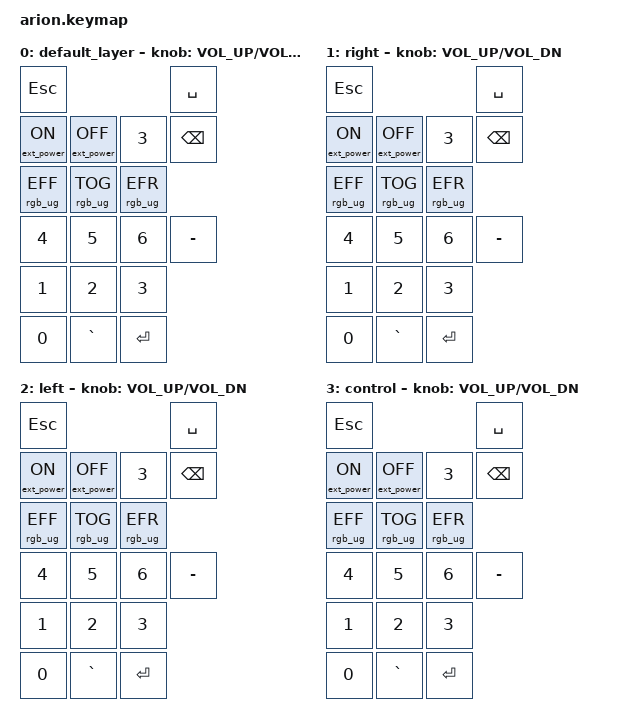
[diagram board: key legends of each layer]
#include <behaviors.dtsi>
#include <dt-bindings/zmk/keys.h>
#include <dt-bindings/zmk/bt.h>
#include <dt-bindings/zmk/rgb.h>
#include <dt-bindings/zmk/ext_power.h>

/ {
	keymap {
		compatible = "zmk,keymap";

		default_layer {
            sensor-bindings = <&inc_dec_kp C_VOL_UP C_VOL_DN>;
			bindings = <
		        &kp ESC                                                  &kp SPACE
                &ext_power EP_ON    &ext_power EP_OFF   &kp N3           &kp BSPC      
                &rgb_ug RGB_EFF     &rgb_ug RGB_TOG     &rgb_ug RGB_EFR   
                &kp N4              &kp N5              &kp N6           &kp MINUS 
                &kp N1              &kp N2              &kp N3 
                &kp N0              &kp GRAVE           &kp ENTER
			>;			
		};

		right {
			sensor-bindings = <&inc_dec_kp C_VOL_UP C_VOL_DN>;
			bindings = <
		        &kp ESC                                                  &kp SPACE
                &ext_power EP_ON    &ext_power EP_OFF   &kp N3           &kp BSPC      
                &rgb_ug RGB_EFF     &rgb_ug RGB_TOG     &rgb_ug RGB_EFR   
                &kp N4              &kp N5              &kp N6           &kp MINUS 
                &kp N1              &kp N2              &kp N3 
                &kp N0              &kp GRAVE           &kp ENTER
			>;
		};

		left {
			sensor-bindings = <&inc_dec_kp C_VOL_UP C_VOL_DN>;
			bindings = <
		        &kp ESC                                                  &kp SPACE
                &ext_power EP_ON    &ext_power EP_OFF   &kp N3           &kp BSPC      
                &rgb_ug RGB_EFF     &rgb_ug RGB_TOG     &rgb_ug RGB_EFR   
                &kp N4              &kp N5              &kp N6           &kp MINUS 
                &kp N1              &kp N2              &kp N3 
                &kp N0              &kp GRAVE           &kp ENTER
			>;
		};

		control {
			sensor-bindings = <&inc_dec_kp C_VOL_UP C_VOL_DN>;
			bindings = <
		        &kp ESC                                                  &kp SPACE
                &ext_power EP_ON    &ext_power EP_OFF   &kp N3           &kp BSPC      
                &rgb_ug RGB_EFF     &rgb_ug RGB_TOG     &rgb_ug RGB_EFR   
                &kp N4              &kp N5              &kp N6           &kp MINUS 
                &kp N1              &kp N2              &kp N3 
                &kp N0                                  &kp GRAVE        &kp ENTER
			>;
		};
	};
};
